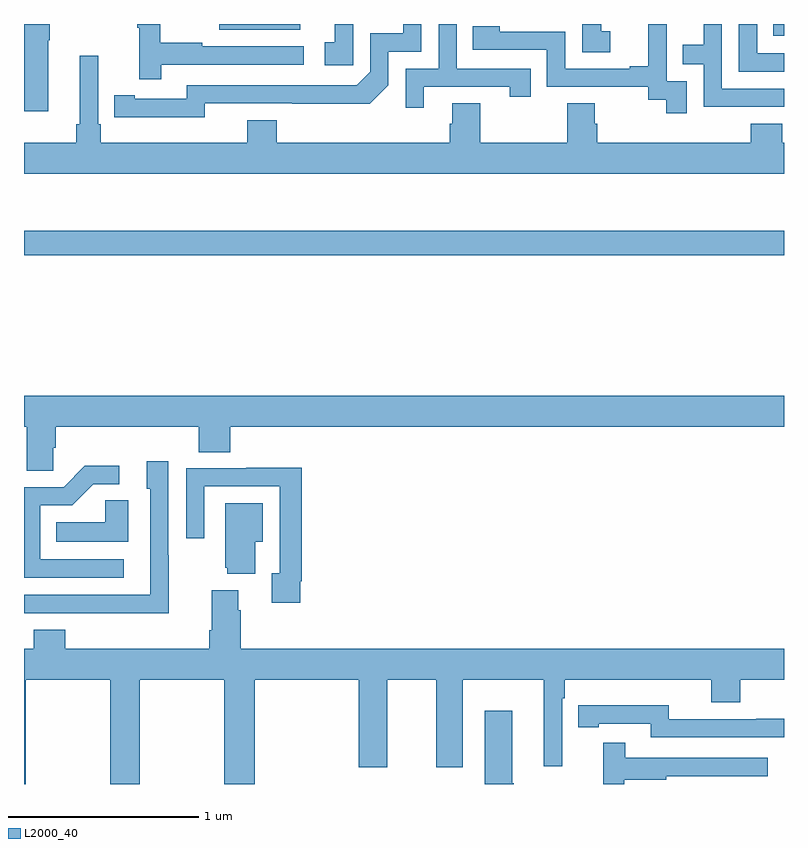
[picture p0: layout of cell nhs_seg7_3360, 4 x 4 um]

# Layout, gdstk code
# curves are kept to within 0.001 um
import gdstk
lib = gdstk.Library(unit=1e-6, precision=1e-09)
def R(c, l, rs):  # rectangles x0, y0, x1, y1
    for r in rs: c.add(gdstk.rectangle(r[:2], r[2:], *l))
def P(c, l, *ps):  # polygons
    for p in ps: c.add(gdstk.Polygon(p, *l))
L2000_40 = (2000, 40)

nhs_seg7_3360 = lib.new_cell('nhs_seg7_3360')
R(nhs_seg7_3360, L2000_40, [(323,1070.782,327,1070.911), (326.944,1071.938,327,1072), (324.027,1071.971,324.454,1072)])
P(nhs_seg7_3360, L2000_40, [(323.952,1071.582),(324.82,1071.581),(324.918,1071.678),(324.918,1071.855),(325.092,1071.855),(325.092,1072),(324.995,1072),(324.995,1071.951),(324.822,1071.951),(324.822,1071.75),(324.75,1071.678),(323.856,1071.678),(323.856,1071.606),(323.584,1071.606),(323.584,1071.626),(323.476,1071.626),(323.476,1071.51),(323.952,1071.509)],
  [(326.487,1071.699),(326.382,1071.699),(326.382,1071.929),(326.384,1071.929),(326.384,1072),(326.285,1072),(326.285,1071.778),(326.189,1071.778),(326.189,1071.765),(325.848,1071.765),(325.848,1071.96),(325.503,1071.96),(325.503,1071.987),(325.363,1071.987),(325.363,1071.864),(325.752,1071.864),(325.752,1071.669),(326.286,1071.669),(326.286,1071.601),(326.379,1071.601),(326.379,1071.531),(326.487,1071.531)],
  [(323.128,1071.915),(323.136,1071.915),(323.136,1072),(323,1072),(323,1071.54),(323.128,1071.54)],
  [(325.105,1071.669),(325.556,1071.669),(325.556,1071.618),(325.667,1071.618),(325.667,1071.765),(325.278,1071.765),(325.278,1072),(325.182,1072),(325.182,1071.765),(325.008,1071.765),(325.008,1071.558),(325.105,1071.558)],
  [(326.086,1071.961),(326.037,1071.961),(326.037,1072),(325.938,1072),(325.938,1071.852),(326.086,1071.852)],
  [(327,1071.846),(326.859,1071.846),(326.859,1072),(326.763,1072),(326.763,1071.75),(327,1071.75)],
  [(323.723,1071.786),(324.472,1071.786),(324.472,1071.882),(323.939,1071.882),(323.939,1071.902),(323.716,1071.902),(323.716,1072),(323.595,1072),(323.595,1071.979),(323.606,1071.979),(323.606,1071.708),(323.723,1071.708)],
  [(324.732,1072),(324.635,1072),(324.635,1071.903),(324.582,1071.903),(324.582,1071.783),(324.732,1071.783)],
  [(327,1071.66),(326.673,1071.66),(326.673,1072),(326.577,1072),(326.577,1071.89),(326.467,1071.89),(326.467,1071.789),(326.577,1071.789),(326.577,1071.564),(327,1071.564)],
  [(327,1071.376),(326.99,1071.376),(326.99,1071.475),(326.825,1071.475),(326.825,1071.376),(326.018,1071.376),(326.018,1071.474),(326.005,1071.474),(326.005,1071.584),(325.858,1071.584),(325.858,1071.376),(325.401,1071.376),(325.401,1071.584),(325.253,1071.584),(325.253,1071.474),(325.241,1071.474),(325.241,1071.376),(324.329,1071.376),(324.329,1071.493),(324.176,1071.493),(324.176,1071.376),(323.405,1071.376),(323.405,1071.472),(323.391,1071.472),(323.391,1071.832),(323.294,1071.832),(323.294,1071.472),(323.275,1071.472),(323.275,1071.376),(323,1071.376),(323,1071.212),(327,1071.212)],
  [(323.154,1069.771),(323.168,1069.771),(323.168,1069.88),(323.921,1069.88),(323.921,1069.747),(324.086,1069.747),(324.086,1069.88),(327,1069.88),(327,1070.044),(323,1070.044),(323,1069.88),(323.015,1069.88),(323.015,1069.648),(323.154,1069.648)],
  [(323.763,1069.205),(323.76,1069.205),(323.76,1069.699),(323.645,1069.699),(323.645,1069.554),(323.664,1069.554),(323.664,1068.996),(323,1068.996),(323,1068.9),(323.299,1068.9),(323.299,1068.899),(323.763,1068.899)],
  [(323.524,1069.182),(323.085,1069.182),(323.085,1069.467),(323.254,1069.467),(323.365,1069.578),(323.5,1069.578),(323.5,1069.676),(323.321,1069.676),(323.208,1069.563),(323,1069.563),(323,1069.086),(323.524,1069.086)],
  [(324.454,1069.066),(324.461,1069.066),(324.461,1069.664),(324.169,1069.664),(324.169,1069.662),(323.853,1069.662),(323.853,1069.293),(323.949,1069.293),(323.949,1069.566),(324.345,1069.566),(324.345,1069.11),(324.305,1069.11),(324.305,1068.954),(324.454,1068.954)],
  [(323.548,1069.493),(323.427,1069.493),(323.427,1069.378),(323.17,1069.378),(323.17,1069.274),(323.548,1069.274)],
  [(324.217,1069.274),(324.256,1069.274),(324.256,1069.477),(324.059,1069.477),(324.059,1069.137),(324.071,1069.137),(324.071,1069.106),(324.217,1069.106)],
  [(323.01,1068.548),(323.455,1068.548),(323.455,1068),(323.61,1068),(323.61,1068.548),(324.055,1068.548),(324.055,1068),(324.215,1068),(324.215,1068.548),(324.761,1068.548),(324.761,1068.087),(324.913,1068.087),(324.913,1068.548),(325.169,1068.548),(325.169,1068.087),(325.309,1068.087),(325.309,1068.548),(325.736,1068.548),(325.736,1068.093),(325.833,1068.093),(325.833,1068.452),(325.847,1068.452),(325.847,1068.548),(326.618,1068.548),(326.618,1068.431),(326.771,1068.431),(326.771,1068.548),(327,1068.548),(327,1068.712),(324.14,1068.712),(324.14,1068.914),(324.127,1068.914),(324.127,1069.021),(323.987,1069.021),(323.987,1068.808),(323.975,1068.808),(323.975,1068.712),(323.216,1068.712),(323.216,1068.811),(323.051,1068.811),(323.051,1068.712),(323,1068.712),(323,1068),(323.01,1068)],
  [(327,1068.344),(326.854,1068.344),(326.854,1068.342),(326.394,1068.342),(326.394,1068.415),(326.026,1068.415),(326.026,1068.414),(325.918,1068.414),(325.918,1068.298),(326.026,1068.298),(326.026,1068.318),(326.298,1068.318),(326.298,1068.246),(327,1068.246)],
  [(325.578,1068.005),(325.57,1068.005),(325.57,1068.385),(325.424,1068.385),(325.424,1068),(325.578,1068)],
  [(326.158,1068.022),(326.381,1068.022),(326.381,1068.042),(326.914,1068.042),(326.914,1068.138),(326.165,1068.138),(326.165,1068.217),(326.048,1068.217),(326.048,1068),(326.158,1068)])

lib.write_gds('nhs_seg7_3360.gds')
